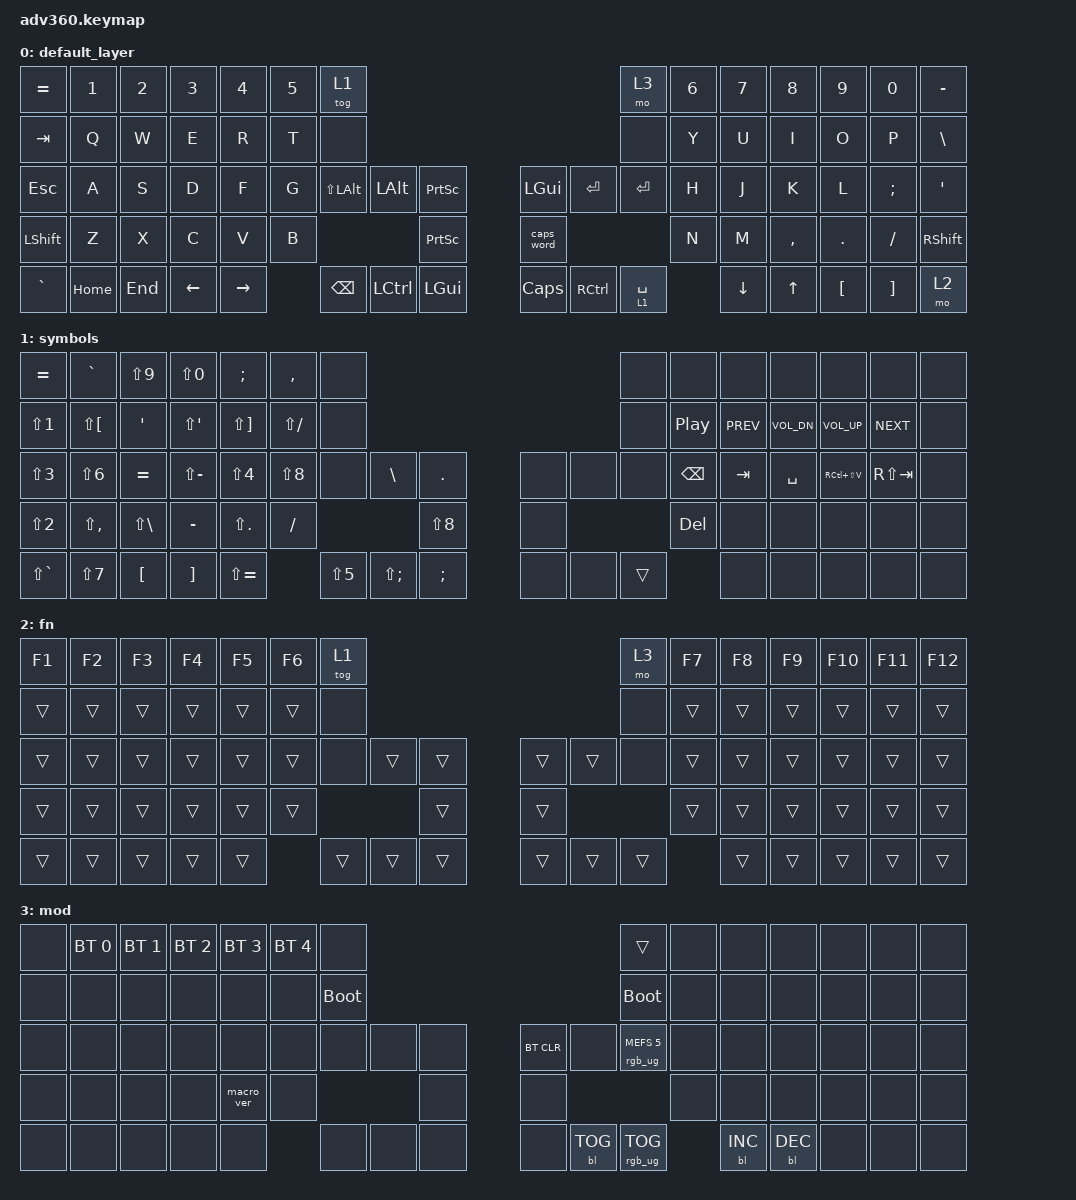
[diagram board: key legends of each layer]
#include <behaviors.dtsi>
#include <dt-bindings/zmk/backlight.h>
#include <dt-bindings/zmk/bt.h>
#include <dt-bindings/zmk/keys.h>
#include <dt-bindings/zmk/rgb.h>

/ {
    behaviors {
        #include "macros.dtsi"
      #include "version.dtsi"
      #ifndef VERSION_MACRO

        macro_ver: macro_ver {
            compatible = "zmk,behavior-macro";
            label = "macro_version";
            #binding-cells = <0>;
            bindings = <&kp RET>;
        };

        #endif

        hm: homerow_mods {
            compatible = "zmk,behavior-hold-tap";
            label = "HOMEROW_MODS";
            #binding-cells = <2>;
            tapping-term-ms = <200>;
            quick_tap_ms = <175>;
            flavor = "tap-preferred";
            bindings = <&kp>, <&kp>;
        };
    };

    macros {
    };

    keymap {
        compatible = "zmk,keymap";

        default_layer {
            bindings = <
&kp EQUAL  &kp N1    &kp N2   &kp N3    &kp N4     &kp N5  &tog 1                                                                             &mo 3        &kp N6  &kp N7          &kp N8        &kp N9    &kp N0    &kp MINUS
&kp TAB    &kp Q     &kp W    &kp E     &kp R      &kp T   &none                                                                              &none        &kp Y   &kp U           &kp I         &kp O     &kp P     &kp BSLH
&kp ESC    &kp A     &kp S    &kp D     &kp F      &kp G   &kp LS(LEFT_ALT)  &kp LALT   &kp PRINTSCREEN      &kp LGUI      &kp ENTER          &kp ENTER    &kp H   &kp J           &kp K         &kp L     &kp SEMI  &kp SQT
&kp LSHFT  &kp Z     &kp X    &kp C     &kp V      &kp B                                &kp PRINTSCREEN      &caps_word                                    &kp N   &kp M           &kp COMMA     &kp DOT   &kp FSLH  &kp RSHFT
&kp GRAVE  &kp HOME  &kp END  &kp LEFT  &kp RIGHT          &kp BSPC          &kp LCTRL  &kp LGUI             &kp CAPSLOCK  &kp RIGHT_CONTROL  &lt 1 SPACE          &kp DOWN_ARROW  &kp UP_ARROW  &kp LBKT  &kp RBKT  &mo 2
            >;
        };

        symbols {
            bindings = <
&kp EQUAL         &kp GRAVE             &kp LS(NUMBER_9)   &kp LS(NUMBER_0)   &kp SEMICOLON          &kp COMMA         &none                                                                    &none   &none             &none       &none         &none            &none        &none
&kp LS(NUMBER_1)  &kp LS(LEFT_BRACKET)  &kp SQT            &kp LS(SQT)        &kp LS(RIGHT_BRACKET)  &kp LS(SLASH)     &none                                                                    &none   &kp C_PLAY_PAUSE  &kp C_PREV  &kp C_VOL_DN  &kp C_VOLUME_UP  &kp C_NEXT   &none
&kp LS(NUMBER_3)  &kp LS(NUMBER_6)      &kp EQUAL          &kp LS(MINUS)      &kp LS(NUMBER_4)       &kp LS(NUMBER_8)  &none             &kp BACKSLASH      &kp DOT               &none  &none  &none   &kp BACKSPACE     &kp TAB     &kp SPACE     &kp RC(LS(V))    &kp RS(TAB)  &none
&kp LS(NUMBER_2)  &kp LS(COMMA)         &kp LS(BACKSLASH)  &kp MINUS          &kp LS(DOT)            &kp SLASH                                              &kp LS(NUMBER_8)      &none                 &kp DELETE        &none       &none         &none            &none        &none
&kp LS(GRAVE)     &kp LS(NUMBER_7)      &kp LEFT_BRACKET   &kp RIGHT_BRACKET  &kp LS(EQUAL)                            &kp LS(NUMBER_5)  &kp LS(SEMICOLON)  &kp SEMICOLON         &none  &none  &trans                    &none       &none         &none            &none        &none
            >;
        };

        fn {
            bindings = <
&kp F1  &kp F2  &kp F3  &kp F4  &kp F5  &kp F6  &tog 1                                      &mo 3   &kp F7  &kp F8  &kp F9  &kp F10  &kp F11  &kp F12
&trans  &trans  &trans  &trans  &trans  &trans  &none                                       &none   &trans  &trans  &trans  &trans   &trans   &trans
&trans  &trans  &trans  &trans  &trans  &trans  &none   &trans  &trans      &trans  &trans  &none   &trans  &trans  &trans  &trans   &trans   &trans
&trans  &trans  &trans  &trans  &trans  &trans                  &trans      &trans                  &trans  &trans  &trans  &trans   &trans   &trans
&trans  &trans  &trans  &trans  &trans          &trans  &trans  &trans      &trans  &trans  &trans          &trans  &trans  &trans   &trans   &trans
            >;
        };

        mod {
            bindings = <
&none  &bt BT_SEL 0  &bt BT_SEL 1  &bt BT_SEL 2  &bt BT_SEL 3  &bt BT_SEL 4  &none                                                  &trans                  &none  &none       &none       &none  &none  &none
&none  &none         &none         &none         &none         &none         &bootloader                                            &bootloader             &none  &none       &none       &none  &none  &none
&none  &none         &none         &none         &none         &none         &none        &none  &none      &bt BT_CLR  &none       &rgb_ug RGB_MEFS_CMD 5  &none  &none       &none       &none  &none  &none
&none  &none         &none         &none         &macro_ver    &none                             &none      &none                                           &none  &none       &none       &none  &none  &none
&none  &none         &none         &none         &none                       &none        &none  &none      &none       &bl BL_TOG  &rgb_ug RGB_TOG                &bl BL_INC  &bl BL_DEC  &none  &none  &none
            >;
        };
    };
};
